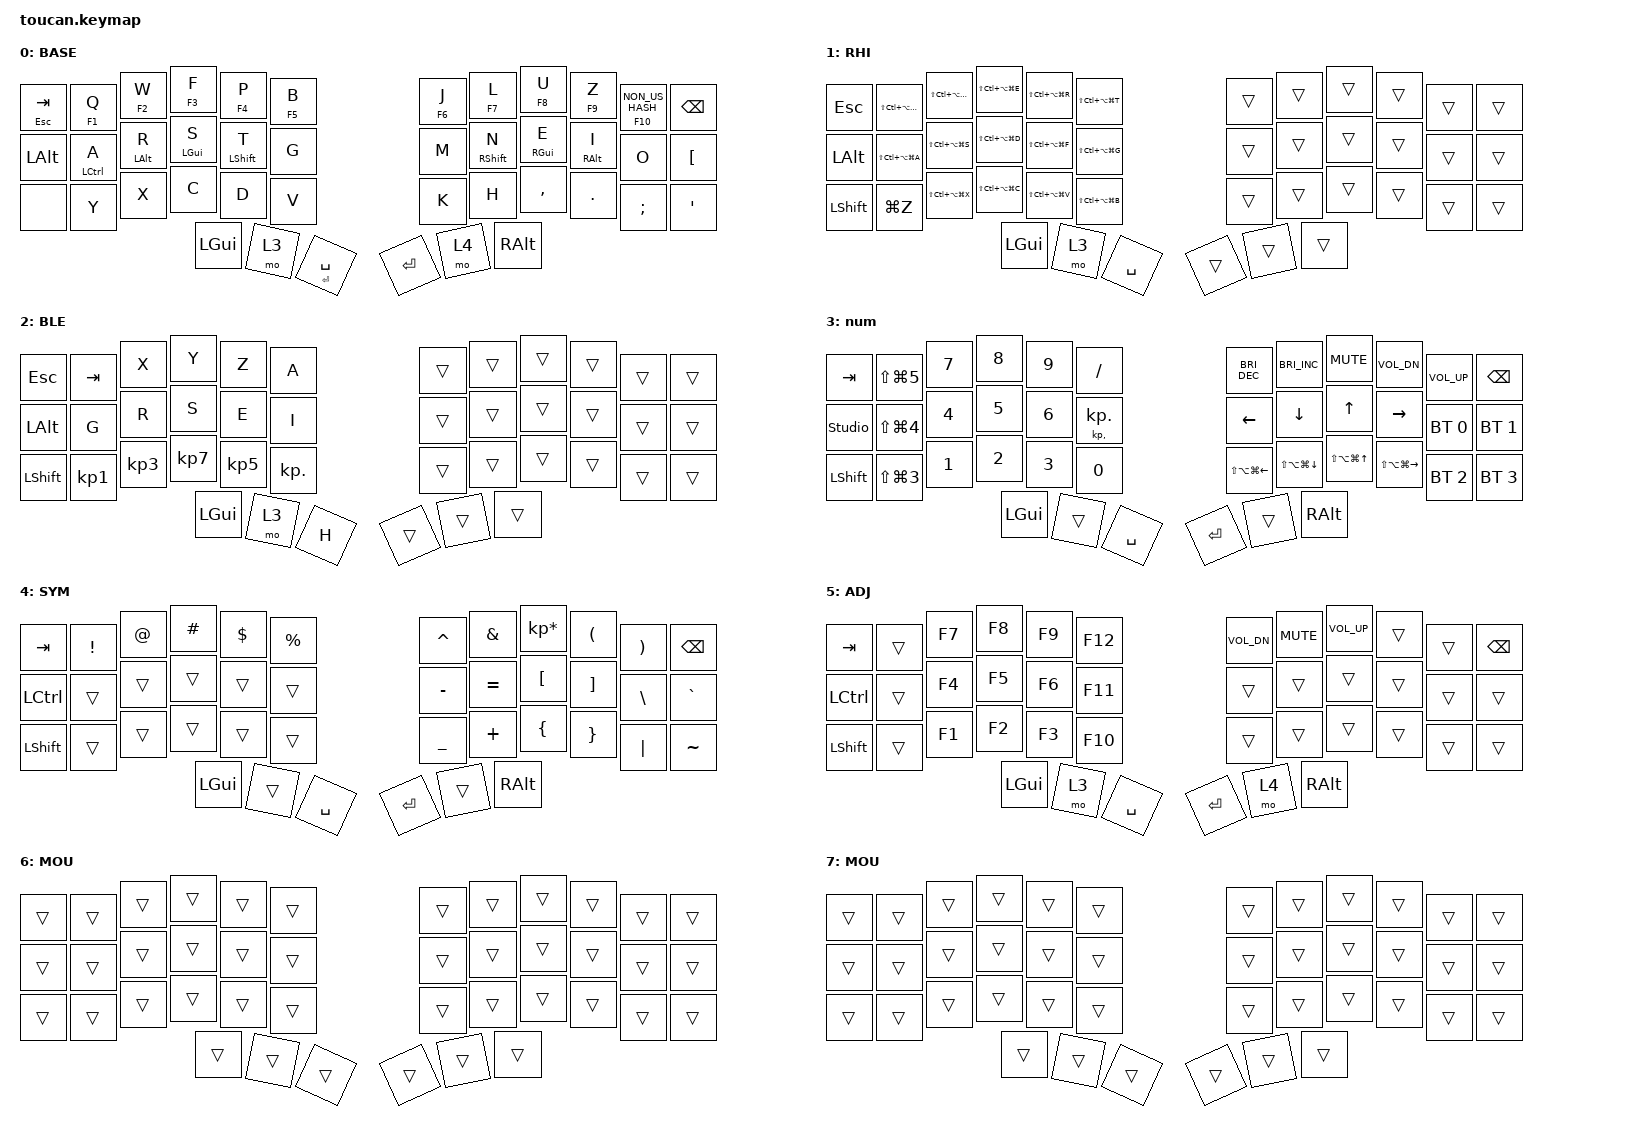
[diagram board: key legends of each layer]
#include <behaviors.dtsi>
#include <dt-bindings/zmk/bt.h>
#include <dt-bindings/zmk/keys.h>

#define BASE 0
#define NAV  1
#define SYM  2
#define ADJ  3

/*
 * Colemak-DH auf der BASE-Ebene (matrix).
 *
 * ANNAHME: Der Mac steht auf der deutschen Eingabequelle ("Deutsch").
 * Die Firmware sendet nur Tastencodes, das System macht daraus die Zeichen.
 * Deshalb gilt hier:
 *   - Y und Z sind auf der deutschen Tastatur vertauscht: fuer das Zeichen "y"
 *     wird der Code Z gesendet, fuer "z" der Code Y.
 *   - Umlaute haben eigene Tastencodes: ue = LEFT_BRACKET, oe = SEMICOLON, ae = APOS.
 * Steht der Mac auf U.S./ABC, stimmen diese fuenf Zeilen nicht (Bescheid sagen).
 */

#define OUT_Y  Z
#define OUT_Z  Y
#define OUT_UE LEFT_BRACKET
#define OUT_OE SEMICOLON
#define OUT_AE APOS

/*
 * Mod-Tap (&mt) - hier nur die obere Buchstabenreihe: Tap = Buchstabe, Halten = F1-F10.
 *
 * Standard in ZMK ist "hold-preferred" mit 200 ms. Dann loest schon ein schnelles
 * Ueberlappen beim Tippen (naechste Taste, waehrend die erste noch unten ist) die F-Taste aus.
 *
 * "tap-preferred": Die F-Taste kommt NUR, wenn die Taste allein so lange gehalten wird,
 * wie tapping-term-ms angibt. Jede andere Taste dazwischen macht es zum normalen Buchstaben.
 */

&mt {
    flavor = "tap-preferred";
    tapping-term-ms = <250>;
};

/ {
    conditional_layers {
        compatible = "zmk,conditional-layers";

        tri_layer {
            if-layers = <3 4>;
            then-layer = <5>;
        };
    };

    combos {
        compatible = "zmk,combos";

        RhinoLayer {
            bindings = <&tog 1>;
            key-positions = <4 5>;
        };

        blenderLayer {
            bindings = <&tog 2>;
            key-positions = <28 29>;
        };
    };

    behaviors {
        HMRShiftR: HMRShiftR {
            compatible = "zmk,behavior-hold-tap";
            label = "HMRSHIFTR";
            bindings = <&kp>, <&kp>;

            #binding-cells = <2>;
            tapping-term-ms = <200>;
            hold-while-undecided;
            hold-trigger-key-positions = <0 1 2 3 4 5 12 13 14 15 16 17 24 25 26 27 28 29 36 37 38>;
            hold-trigger-on-release;
        };

        HML: HML {
            compatible = "zmk,behavior-hold-tap";
            label = "HML";
            bindings = <&kp>, <&kp>;

            #binding-cells = <2>;
            tapping-term-ms = <200>;
            hold-while-undecided;
            hold-trigger-on-release;
            hold-trigger-key-positions = <6 7 8 9 10 11 18 19 20 21 22 23 30 31 32 33 34 35 39 40 41>;
            flavor = "tap-preferred";
        };

        HMR: HMR {
            compatible = "zmk,behavior-hold-tap";
            label = "HMR";
            bindings = <&kp>, <&kp>;

            #binding-cells = <2>;
            tapping-term-ms = <200>;
            flavor = "tap-preferred";
            hold-while-undecided;
            hold-trigger-on-release;
            hold-trigger-key-positions = <0 1 2 3 4 5 12 13 14 15 16 17 24 25 26 27 28 29 36 37 38>;
        };

        HMRShiftL: HMRShiftL {
            compatible = "zmk,behavior-hold-tap";
            label = "HMRSHIFTL";
            bindings = <&kp>, <&kp>;

            #binding-cells = <2>;
            tapping-term-ms = <200>;
            hold-trigger-key-positions = <6 7 8 9 10 11 18 19 20 21 22 23 30 31 32 33 34 35 39 40 41>;
            hold-trigger-on-release;
            hold-while-undecided;
        };
    };

    keymap {
        compatible = "zmk,keymap";

        base {
            display-name = "BASE";
            bindings = <
&mt ESC TAB  &mt F1 Q  &mt F2 W  &mt F3 F  &mt F4 P  &mt F5 B  &mt F6 J  &mt F7 L  &mt F8 U  &mt F9 OUT_Y  &mt F10 NON_US_HASH  &kp BSPC  &kp LALT  &HML LEFT_CONTROL A  &HML LEFT_ALT R  &HMR LEFT_GUI S  &HMRShiftL LEFT_SHIFT T  &kp G  &kp M  &HMRShiftR RIGHT_SHIFT N  &HMR RIGHT_GUI E  &HMR RIGHT_ALT I  &kp O  &kp LEFT_BRACKET  &none  &kp OUT_Z  &kp X  &kp C  &kp D  &kp V  &kp K  &kp H  &kp COMMA  &kp DOT  &kp OUT_OE  &kp OUT_AE  &kp LEFT_GUI  &mo 3  &mt ENTER SPACE  &kp ENTER  &mo 4  &kp RALT
            >;
        };

        RhinoLayer {
            display-name = "RHI";
            bindings = <
&kp ESC  &kp LS(LC(LA(LG(RA(L)))))  &kp LS(LC(LA(LG(W))))  &kp LS(LC(LA(LG(E))))  &kp LS(LC(LA(LG(R))))  &kp LS(LC(LA(LG(T))))  &trans  &trans  &trans  &trans  &trans  &trans  &kp LALT  &kp LS(LC(LA(LG(A))))  &kp LS(LC(LA(LG(S))))  &kp LS(LC(LA(LG(D))))  &kp LS(LC(LA(LG(F))))  &kp LS(LC(LA(LG(G))))  &trans  &trans  &trans  &trans  &trans  &trans  &kp LSHFT  &kp LG(Z)  &kp LS(LC(LA(LG(X))))  &kp LS(LC(LA(LG(C))))  &kp LS(LC(LA(LG(V))))  &kp LS(LC(LA(LG(B))))  &trans  &trans  &trans  &trans  &trans  &trans  &kp LGUI  &mo 3  &kp SPACE  &trans  &trans  &trans
            >;
        };

        BlenderLayer {
            display-name = "BLE";
            bindings = <
&kp ESC  &kp TAB  &kp X  &kp Y  &kp Z  &kp A  &trans  &trans  &trans  &trans  &trans  &trans  &kp LALT  &kp G  &kp R  &kp S  &kp E  &kp I  &trans  &trans  &trans  &trans  &trans  &trans  &kp LSHFT  &kp KP_N1  &kp KP_N3  &kp KP_N7  &kp KP_N5  &kp KP_DOT  &trans  &trans  &trans  &trans  &trans  &trans  &kp LGUI  &mo 3  &kp H  &trans  &trans  &trans
            >;
        };

        num {
            display-name = "num";
            bindings = <
&kp TAB  &kp LS(LG(N5))  &kp N7  &kp N8  &kp N9  &kp FSLH  &kp C_BRI_DEC  &kp C_BRI_INC  &kp K_MUTE  &kp C_VOL_DN  &kp C_VOLUME_UP  &kp BSPC  &studio_unlock  &kp LS(LG(NUMBER_4))  &kp NUMBER_4  &kp N5  &kp N6  &mt KP_COMMA KP_DOT  &kp LEFT  &kp DOWN  &kp UP  &kp RIGHT  &bt BT_SEL 0  &bt BT_SEL 1  &kp LSHFT  &kp LS(LG(NUMBER_3))  &kp N1  &kp N2  &kp N3  &kp N0  &kp LS(LA(LG(LEFT_ARROW)))  &kp LS(LA(LG(DOWN_ARROW)))  &kp LS(LA(LG(UP_ARROW)))  &kp LS(LA(LG(RIGHT_ARROW)))  &bt BT_SEL 2  &bt BT_SEL 3  &kp LGUI  &trans  &kp SPACE  &kp RET  &trans  &kp RALT
            >;
        };

        sym {
            display-name = "SYM";
            bindings = <
&kp TAB  &kp EXCL  &kp AT  &kp HASH  &kp DLLR  &kp PRCNT  &kp CARET  &kp AMPS  &kp KP_MULTIPLY  &kp LPAR  &kp RPAR  &kp BSPC  &kp LCTRL  &trans  &trans  &trans  &trans  &trans  &kp MINUS  &kp EQUAL  &kp LBKT  &kp RBKT  &kp BSLH  &kp GRAVE  &kp LSHFT  &trans  &trans  &trans  &trans  &trans  &kp UNDER  &kp PLUS  &kp LBRC  &kp RBRC  &kp PIPE  &kp TILDE  &kp LGUI  &trans  &kp SPACE  &kp RET  &trans  &kp RALT
            >;
        };

        adj {
            display-name = "ADJ";
            bindings = <
&kp TAB  &trans  &kp F7  &kp F8  &kp F9  &kp F12  &kp C_VOL_DN  &kp C_MUTE  &kp C_VOL_UP  &trans  &trans  &kp BSPC  &kp LCTRL  &trans  &kp F4  &kp F5  &kp F6  &kp F11  &trans  &trans  &trans  &trans  &trans  &trans  &kp LSHFT  &trans  &kp F1  &kp F2  &kp F3  &kp F10  &trans  &trans  &trans  &trans  &trans  &trans  &kp LGUI  &mo 3  &kp SPACE  &kp RET  &mo 4  &kp RALT
            >;
        };

        layer_6 {
            display-name = "MOU";
            bindings = <
&trans  &trans  &trans  &trans  &trans  &trans  &trans  &trans  &trans  &trans  &trans  &trans  &trans  &trans  &trans  &trans  &trans  &trans  &trans  &trans  &trans  &trans  &trans  &trans  &trans  &trans  &trans  &trans  &trans  &trans  &trans  &trans  &trans  &trans  &trans  &trans  &trans  &trans  &trans  &trans  &trans  &trans
            >;
        };

        layer_7 {
            display-name = "MOU";
            bindings = <
&trans  &trans  &trans  &trans  &trans  &trans  &trans  &trans  &trans  &trans  &trans  &trans  &trans  &trans  &trans  &trans  &trans  &trans  &trans  &trans  &trans  &trans  &trans  &trans  &trans  &trans  &trans  &trans  &trans  &trans  &trans  &trans  &trans  &trans  &trans  &trans  &trans  &trans  &trans  &trans  &trans  &trans
            >;
        };
    };
};
